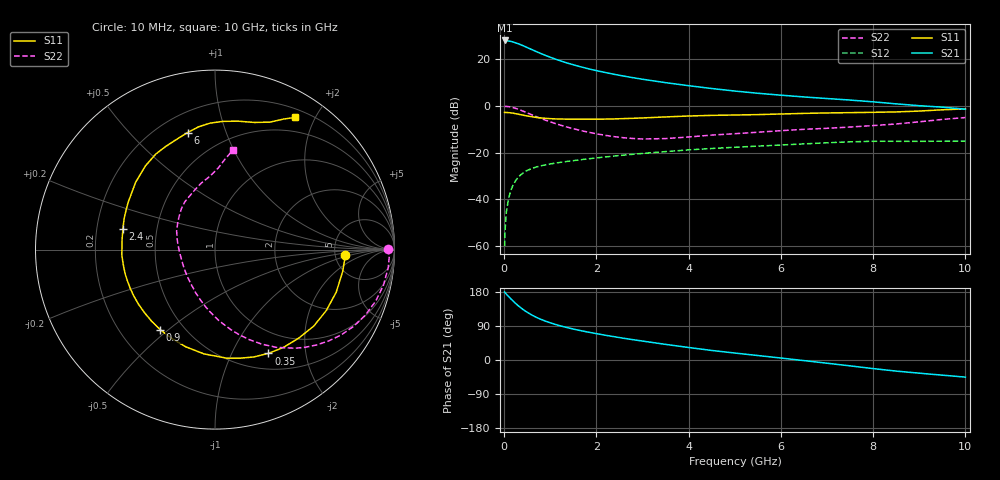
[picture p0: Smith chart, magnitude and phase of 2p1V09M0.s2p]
! (c) 2009  Infineon Technologies AG, Munich
! Infineon Technologies  Discrete & RF Semiconductors
! BFP420
! VCE =  1.0 V,  IC =  9.0 mA
! Common Emitter S-Parameters:  Nov 2009
# GHz  S  MA  R  50
!  f  S11  S21  S12  S22
! GHz  MAG  ANG  MAG  ANG  MAG  ANG  MAG  ANG
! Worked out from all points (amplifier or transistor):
!   46 points, 10 MHz to 10 GHz, reference 50 ohm
!   highest |S21| = 28.0 dB at 10 MHz (marker M1)
!   |S21| within 3 dB of that: start of sweep to 496.8 MHz
!   unconditionally stable (mu >= 1): 2.376 GHz to end of sweep
!   at 300 MHz: K = 0.17, MSG = 28.6 dB, |S12| = -30.7 dB
!   at 1.7 GHz: K = 0.81, MSG = 19.7 dB, |S12| = -22.9 dB
!   at 10 GHz: K = 1.08, MAG = 5.1 dB, |S12| = -15.0 dB
!   S11 on the Smith chart (normalised r, x): 10 MHz: 6.20, -0.80; 350 MHz: 0.70, -1.40; 900 MHz: 0.37, -0.47; 2.4 GHz: 0.31, +0.10; 6 GHz: 0.31, +0.74; 10 GHz: 0.30, +1.74
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0.01  0.7262 -2.4  25.02 179.3  0.001 104.3  0.965 0.3
0.02  0.7251 -4.0  24.5 177.7  0.0022 90.2  0.9719 -2.3
0.1  0.7158 -19.4  24.35 167.2  0.0109 81.4  0.9592 -12.0
0.15  0.7069 -28.7  23.81 160.8  0.016 76.6  0.9397 -17.9
0.2  0.6961 -37.7  23.12 154.9  0.0209 72.4  0.9134 -23.6
0.3  0.6654 -54.9  21.4 143.8  0.0293 65.1  0.8491 -34.0
0.35  0.6502 -62.8  20.46 138.9  0.0329 61.8  0.8138 -38.6
0.45  0.6204 -77.3  18.57 129.9  0.039 56.3  0.7426 -47.1
0.6  0.5844 -96.0  15.96 118.7  0.0458 50.0  0.6438 -57.8
0.7  0.5656 -106.7  14.43 112.5  0.0493 47.0  0.5865 -63.8
0.9  0.5407 -124.3  11.94 102.4  0.0549 42.8  0.493 -74.1
1.2  0.5235 -144.8  9.313 90.7  0.0615 39.1  0.3924 -87.4
1.4  0.5192 -155.5  8.063 84.5  0.0655 37.6  0.3446 -95.2
1.7  0.5179 -168.9  6.68 76.5  0.0713 35.9  0.2911 -106.4
2.4  0.5262 167.1  4.695 61.2  0.0848 32.3  0.2187 -133.2
3.5  0.5798 139.7  3.133 41.2  0.1053 25.8  0.1996 -177.7
4.5  0.6262 121.8  2.349 25.2  0.1225 18.5  0.2371 154.4
5.5  0.6501 109.3  1.859 11.8  0.1377 11.6  0.2729 137.0
6  0.6698 103.2  1.691 5.2  0.1455 8.1  0.2948 129.4
7  0.7054 92.1  1.434 -8.5  0.1624 -0.3  0.3311 115.0
8.5  0.7419 72.7  1.103 -29.3  0.1746 -16.0  0.4099 93.9
10  0.8616 58.7  0.849 -45.2  0.1771 -26.1  0.5621 79.8
